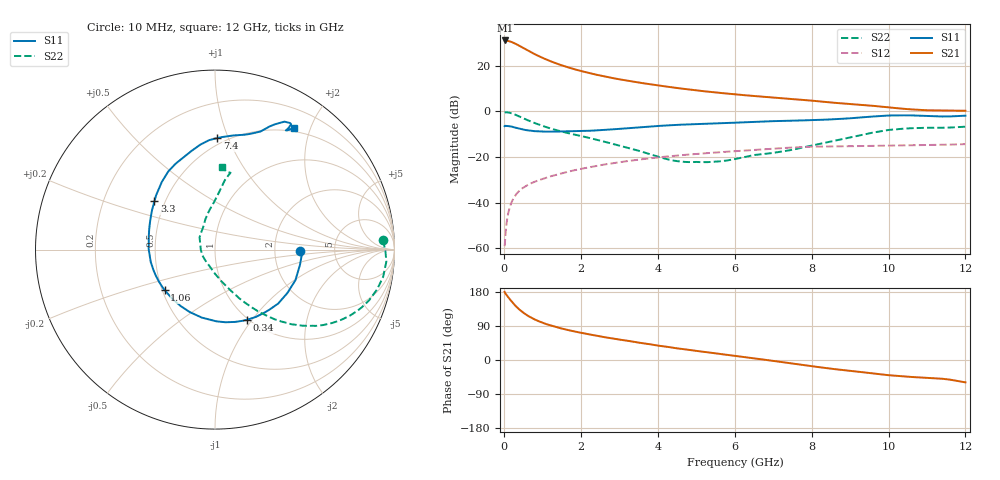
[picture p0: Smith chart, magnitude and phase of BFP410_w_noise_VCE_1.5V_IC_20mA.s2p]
! Infineon Technologies  Discrete & RF Semiconductors
! BFP410
! VCE =  1.5 V,  IC =  20 mA
! Common Emitter S-Parameters:  Nov 2015
# GHz  S  MA  R  50
!  f  S11  S21  S12  S22
! GHz  MAG  ANG  MAG  ANG  MAG  ANG  MAG  ANG
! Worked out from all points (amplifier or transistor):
!   243 points, 10 MHz to 12 GHz, reference 50 ohm
!   highest |S21| = 31.1 dB at 20 MHz (marker M1)
!   |S21| within 3 dB of that: start of sweep to 463.8 MHz
!   unconditionally stable (mu >= 1): 1.769 GHz to end of sweep
!   at 240 MHz: K = 0.28, MSG = 34.2 dB, |S12| = -38.2 dB
!   at 1.84 GHz: K = 1.01, MAG = 21.4 dB, |S12| = -25.8 dB
!   at 12 GHz: K = 1.02, MAG = 6.5 dB, |S12| = -14.4 dB
!   lowest NFmin = 1.70 dB at 900 MHz
!   S11 on the Smith chart (normalised r, x): 10 MHz: 2.80, -0.05; 340 MHz: 0.99, -0.95; 1.06 GHz: 0.52, -0.27; 3.3 GHz: 0.44, +0.29; 7.4 GHz: 0.45, +0.91; 12 GHz: 0.45, +1.75
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0.01  0.4737 -0.9  35.88 179.7  0.0011 121.2  0.938 3.1
0.02  0.4836 -4.2  36.08 177.0  0.0014 91.0  0.95 -0.7
0.1  0.4794 -20.8  35.31 166.4  0.0056 81.9  0.9493 -9.1
0.15  0.4703 -31.0  34.34 159.7  0.0081 79.0  0.9302 -13.8
0.195  0.463 -39.6  33.28 154.1  0.0103 76.1  0.9057 -17.8
0.28  0.442 -55.1  30.87 144.4  0.0139 71.3  0.8519 -24.4
0.34  0.43 -65.3  29.15 138.3  0.0162 68.7  0.8109 -28.5
0.45  0.409 -81.8  25.93 128.4  0.0199 64.8  0.737 -34.7
0.6  0.3859 -101.0  22.01 117.4  0.024 61.5  0.6461 -41.0
0.8  0.368 -121.2  17.93 106.6  0.0287 59.2  0.5516 -46.9
0.9  0.3638 -129.8  16.34 102.1  0.0309 58.4  0.5133 -49.3
1.06  0.3595 -141.3  14.19 96.0  0.0344 57.7  0.4611 -52.4
1.42  0.3614 -161.3  10.79 84.9  0.0421 56.3  0.3746 -58.0
2.02  0.37 175.5  7.616 71.4  0.0554 53.5  0.2854 -64.8
2.6  0.3921 157.7  5.866 60.4  0.0681 49.4  0.2164 -72.4
3.3  0.4317 141.4  4.586 49.3  0.0831 44.0  0.1523 -84.5
4.1  0.4847 126.6  3.621 36.7  0.0997 37.3  0.0958 -109.4
6.1  0.5697 102.3  2.329 9.7  0.1355 19.9  0.0933 153.3
7.4  0.622 88.8  1.898 -7.8  0.1595 7.4  0.1389 118.9
8.2  0.6516 78.3  1.658 -19.0  0.1687 -1.8  0.1929 103.7
10.2  0.8154 60.4  1.181 -41.7  0.1778 -18.2  0.4045 80.8
12  0.8053 57.1  1.032 -59.0  0.1911 -33.1  0.4612 84.9
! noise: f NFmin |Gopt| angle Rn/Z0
0.45  1.73  0.14  -155  0.16
0.9  1.7  0.14  -156  0.16
1.8  1.84  0.19  -141  0.17
2.4  1.84  0.24  -124  0.23
5.5  2.72  0.43  -103  0.42
10  3.83  0.7  -46  2.5
